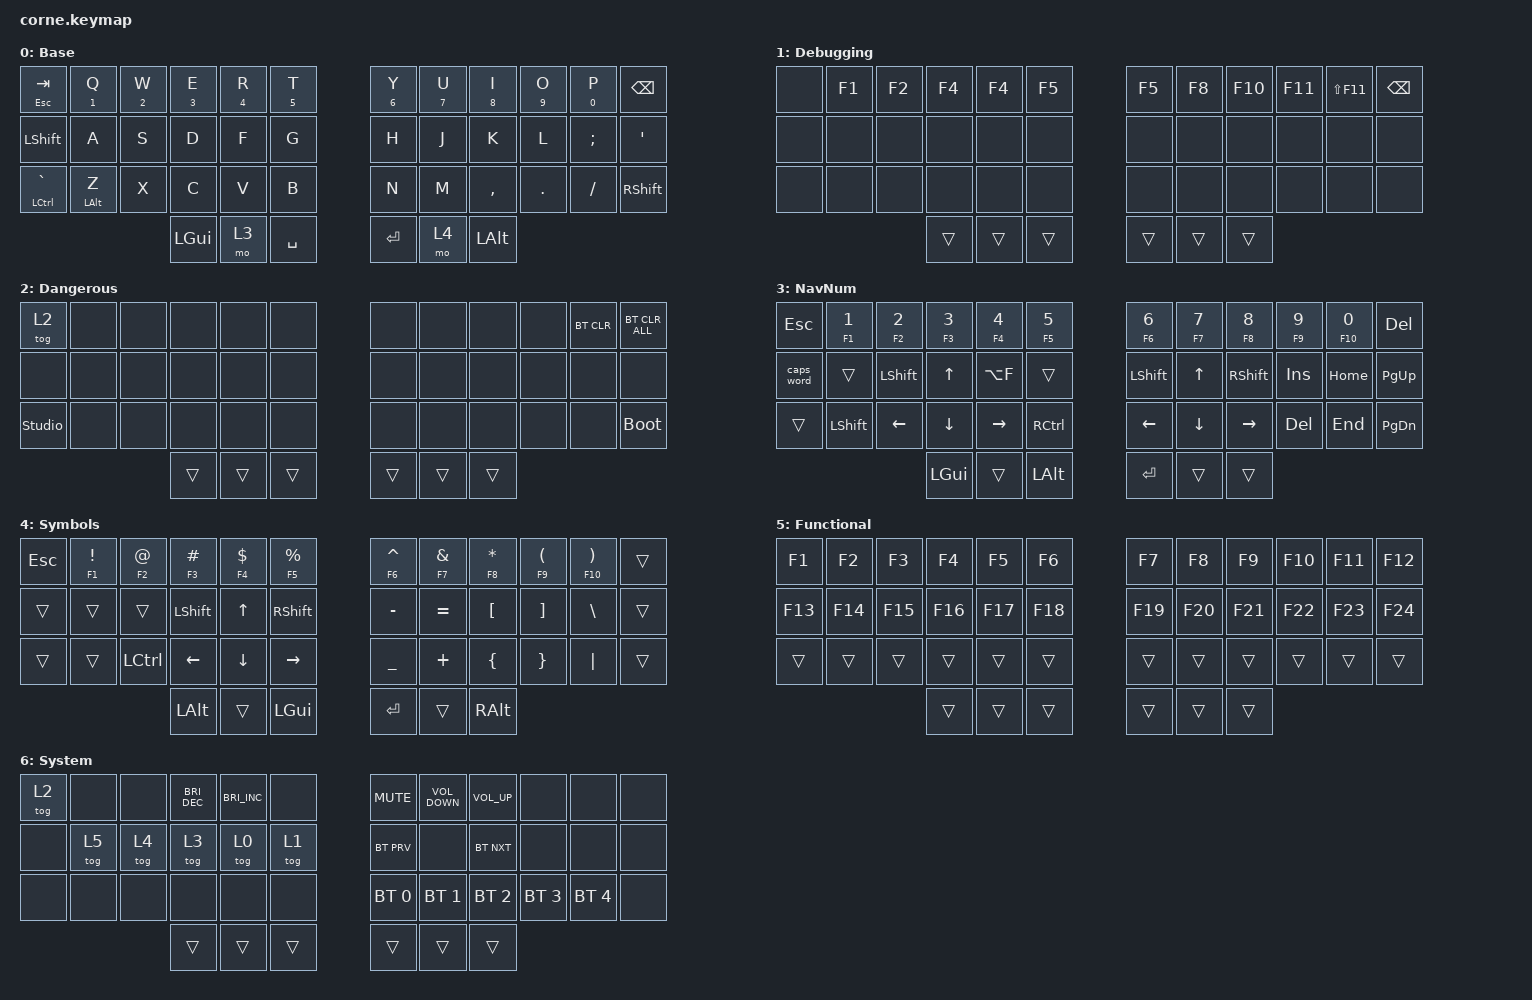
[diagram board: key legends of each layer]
#include <behaviors.dtsi>
#include <dt-bindings/zmk/bt.h>
#include <dt-bindings/zmk/keys.h>

#define DEF 0
#define NAV 1
#define SYM 2
#define ADJ 3
#define EXTRA 4

/ {
    behaviors {
        hm: homerow_mods {
            compatible = "zmk,behavior-hold-tap";
            label = "HOMEROW_MODS";
            #binding-cells = <2>;
            tapping-term-ms = <325>;
            quick_tap_ms = <0>;
            flavor = "tap-preferred";
            bindings = <&kp>, <&kp>;

            quick-tap-ms = <175>;
            global-quick-tap;
            require-prior-idle-ms = <150>;
        };

        para: para {
            compatible = "zmk,behavior-tap-dance";
            label = "PARA";
            #binding-cells = <0>;
            bindings = <&kp LEFT_PARENTHESIS>, <&kp RIGHT_PARENTHESIS>;
        };

        caps: caps {
            compatible = "zmk,behavior-caps-word";
            label = "CAPS";
            #binding-cells = <0>;
            continue-list = <MINUS BACKSPACE>;
        };

        paraless: paraless {
            compatible = "zmk,behavior-mod-morph";
            label = "PARALESS";
            bindings = <&kp LEFT_PARENTHESIS>, <&kp LESS_THAN>;

            #binding-cells = <0>;
            mods = <(MOD_LSFT)>;
        };

        paragreat: paragreat {
            compatible = "zmk,behavior-mod-morph";
            label = "PARAGREAT";
            bindings = <&kp RIGHT_PARENTHESIS>, <&kp GREATER_THAN>;

            #binding-cells = <0>;
            mods = <(MOD_LSFT)>;
        };
    };

    macros {
        browsertab: browsertab {
            compatible = "zmk,behavior-macro";
            #binding-cells = <0>;
            bindings =
                <&macro_press>,
                <&kp LCTRL>,
                <&macro_tap>,
                <&kp TAB>,
                <&macro_release>,
                <&kp LCTRL>;
        };
    };

    combos {
        compatible = "zmk,combos";

        DebuggingToggle {
            bindings = <&tog 1>;
            key-positions = <36 41>;
            timeout-ms = <50>;
        };

        Ukrainian-h {
            bindings = <&kp LEFT_BRACKET>;
            key-positions = <10 22>;
            layers = <0>;
            timeout-ms = <30>;
        };

        Ukrainian-yi {
            bindings = <&kp RIGHT_BRACKET>;
            key-positions = <11 23>;
            layers = <0>;
            timeout-ms = <30>;
        };

        Transcribe {
            bindings = <&kp LG(LA(ENTER))>;
            key-positions = <11 10 9 8>;
            timeout-ms = <30>;
            layers = <0>;
        };

        Instruct {
            bindings = <&kp LG(LA(LS(ENTER)))>;
            key-positions = <41 8 9 10 11>;
            timeout-ms = <30>;
        };

        Announce {
            bindings = <&kp LG(LC(ENTER))>;
            key-positions = <11 10 9 8>;
            layers = <4>;
            timeout-ms = <30>;
        };

        Search {
            bindings = <&kp LG(BACKSLASH)>;
            key-positions = <36 23>;
            timeout-ms = <100>;
        };

        Next-window {
            bindings = <&kp LG(GRAVE)>;
            key-positions = <24 36>;
            timeout-ms = <25>;
        };

        Ukrainian-comma {
            bindings = <&kp CARET>;
            key-positions = <32 20>;
            timeout-ms = <25>;
            layers = <0>;
        };

        Ukrainian-period {
            bindings = <&kp AMPS>;
            key-positions = <21 33>;
            timeout-ms = <10>;
            layers = <0>;
        };

        alt-f-combo {
            bindings = <&kp LA(F)>;
            key-positions = <37 16>;
            timeout-ms = <25>;
            layers = <0>;
        };
    };

    //

    keymap {
        compatible = "zmk,keymap";

        DEF {
            display-name = "Base";

            // -----------------------------------------------------------------------------------------
            // |  Q  |  W  |  E  |  R  |  T  |   |  Y  |  U   |  I  |  O  |  P  |
            // |  A  |  S  |  D  |  F  |  G  |   |  H  |  J   |  K  |  L  |  ;  |
            // |  Z  |  X  |  C  |  V  |  B  |   |  N  |  M   |  ,  |  .  |  /  |
            // | GUI | CTRL | SHFT | LWR | SPC |   | ENT | RSE  | BKSP | ALT | ESC |

            bindings = <
&hm ESC TAB      &hm N1 Q        &hm N2 W  &hm N3 E      &hm N4 R  &hm N5 T     &hm N6 Y  &hm N7 U  &hm N8 I      &hm N9 O  &hm N0 P  &kp BACKSPACE
&kp LSHFT        &kp A           &kp S     &kp D         &kp F     &kp G        &kp H     &kp J     &kp K         &kp L     &kp SEMI  &kp SQT
&hm LCTRL GRAVE  &hm LEFT_ALT Z  &kp X     &kp C         &kp V     &kp B        &kp N     &kp M     &kp COMMA     &kp DOT   &kp FSLH  &kp RSHFT
                                           &kp LEFT_GUI  &mo 3     &kp SPACE    &kp RET   &mo 4     &kp LEFT_ALT
            >;
        };

        Debugging {
            display-name = "Debugging";
            bindings = <
&none  &kp F1  &kp F2  &kp F4  &kp F4  &kp F5    &kp F5  &kp F8  &kp F10  &kp F11  &kp LS(F11)  &kp BACKSPACE
&none  &none   &none   &none   &none   &none     &none   &none   &none    &none    &none        &none
&none  &none   &none   &none   &none   &none     &none   &none   &none    &none    &none        &none
                       &trans  &trans  &trans    &trans  &trans  &trans
            >;
        };

        Dangerous {
            bindings = <
&tog 2          &none  &none  &none   &none   &none     &none   &none   &none   &none  &bt BT_CLR  &bt BT_CLR_ALL
&none           &none  &none  &none   &none   &none     &none   &none   &none   &none  &none       &none
&studio_unlock  &none  &none  &none   &none   &none     &none   &none   &none   &none  &none       &bootloader
                              &trans  &trans  &trans    &trans  &trans  &trans
            >;
        };

        NAV {
            display-name = "NavNum";

            // -----------------------------------------------------------------------------------------
            // |  TAB |  1  |  2  |  3  |  4  |  5  |   |  6  |  7  |  8  |  9  |  0  | BKSP |
            // | BTCLR| BT1 | BT2 | BT3 | BT4 | BT5 |   | LFT | DWN |  UP | RGT |     |      |
            // | SHFT |     |     |     |     |     |   |     |     |     |     |     |      |
            // | GUI | CTRL | SHFT | LWR | SPC |   | ENT | RSE  | BKSP | ALT | ESC |

            bindings = <
&kp ESC     &hm F1 N1       &hm F2 N2       &hm F3 N3       &hm F4 N4        &hm F5 N5    &hm F6 N6       &hm F7 N7       &hm F8 N8        &hm F9 N9   &hm F10 N0  &kp DEL
&caps_word  &trans          &kp LEFT_SHIFT  &kp UP_ARROW    &kp LA(F)        &trans       &kp LEFT_SHIFT  &kp UP_ARROW    &kp RIGHT_SHIFT  &kp INSERT  &kp HOME    &kp PG_UP
&trans      &kp LEFT_SHIFT  &kp LEFT_ARROW  &kp DOWN_ARROW  &kp RIGHT_ARROW  &kp RCTRL    &kp LEFT_ARROW  &kp DOWN_ARROW  &kp RIGHT_ARROW  &kp DELETE  &kp END     &kp PAGE_DOWN
                                            &kp LGUI        &trans           &kp LALT     &kp ENTER       &trans          &trans
            >;
        };

        SYM {
            display-name = "Symbols";

            // -----------------------------------------------------------------------------------------
            // |  TAB |  !  |  @  |  #  |  $  |  %  |   |  ^  |  &  |  *  |  (  |  )  | BKSP |
            // | CTRL |     |     |     |     |     |   |  -  |  =  |  [  |  ]  |  \  |  `   |
            // | SHFT |     |     |     |     |     |   |  _  |  +  |  {  |  }  | "|" |  ~   |
            //                    | GUI |     | SPC |   | ENT |     | ALT |

            bindings = <
&kp ESC  &hm F1 EXCL  &hm F2 AT  &hm F3 HASH     &hm F4 DLLR     &hm F5 PRCNT       &hm F6 CARET  &hm F7 AMPS  &hm F8 ASTRK   &hm F9 LEFT_PARENTHESIS  &hm F10 RPAR  &trans
&trans   &trans       &trans     &kp LEFT_SHIFT  &kp UP_ARROW    &kp RIGHT_SHIFT    &kp MINUS     &kp EQUAL    &kp LBKT       &kp RBKT                 &kp BSLH      &trans
&trans   &trans       &kp LCTRL  &kp LEFT_ARROW  &kp DOWN_ARROW  &kp RIGHT_ARROW    &kp UNDER     &kp PLUS     &kp LBRC       &kp RBRC                 &kp PIPE      &trans
                                 &kp LEFT_ALT    &trans          &kp LGUI           &kp RET       &trans       &kp RIGHT_ALT
            >;
        };

        Functional {
            bindings = <
&kp F1   &kp F2   &kp F3   &kp F4   &kp F5   &kp F6     &kp F7   &kp F8   &kp F9   &kp F10  &kp F11  &kp F12
&kp F13  &kp F14  &kp F15  &kp F16  &kp F17  &kp F18    &kp F19  &kp F20  &kp F21  &kp F22  &kp F23  &kp F24
&trans   &trans   &trans   &trans   &trans   &trans     &trans   &trans   &trans   &trans   &trans   &trans
                           &trans   &trans   &trans     &trans   &trans   &trans
            >;
        };

        Adjustments {
            display-name = "System";
            bindings = <
&tog 2  &none   &none   &kp C_BRIGHTNESS_DEC  &kp C_BRIGHTNESS_INC  &none     &kp C_MUTE    &kp C_VOLUME_DOWN  &kp C_VOLUME_UP  &none         &none         &none
&none   &tog 5  &tog 4  &tog 3                &tog 0                &tog 1    &bt BT_PRV    &none              &bt BT_NXT       &none         &none         &none
&none   &none   &none   &none                 &none                 &none     &bt BT_SEL 0  &bt BT_SEL 1       &bt BT_SEL 2     &bt BT_SEL 3  &bt BT_SEL 4  &none
                        &trans                &trans                &trans    &trans        &trans             &trans
            >;
        };
    };

    conditional_layers {
        compatible = "zmk,conditional-layers";

        l3 {
            if-layers = <3 4>;
            then-layer = <6>;
        };
    };
};
